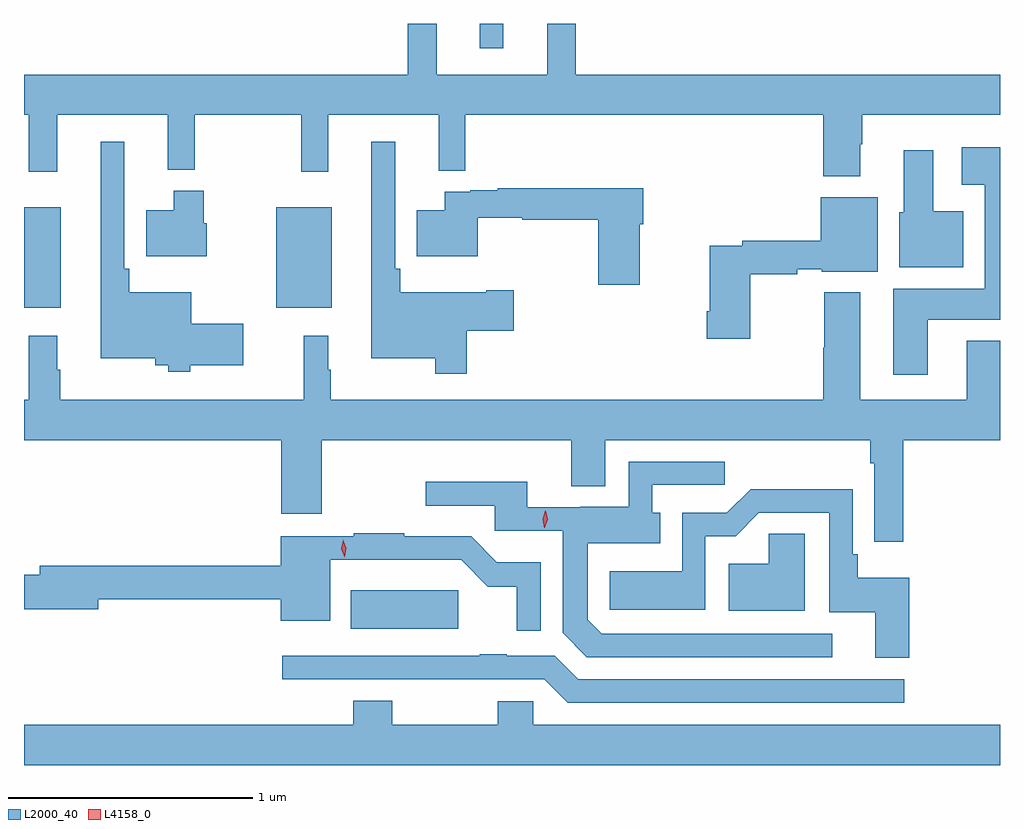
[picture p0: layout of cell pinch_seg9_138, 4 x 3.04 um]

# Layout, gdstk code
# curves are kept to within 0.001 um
import gdstk
lib = gdstk.Library(unit=1e-6, precision=1e-09)
def R(c, l, rs):  # rectangles x0, y0, x1, y1
    for r in rs: c.add(gdstk.rectangle(r[:2], r[2:], *l))
def P(c, l, *ps):  # polygons
    for p in ps: c.add(gdstk.Polygon(p, *l))
L2000_40 = (2000, 40)
L4158_0 = (4158, 0)

pinch_seg9_138 = lib.new_cell('pinch_seg9_138')
R(pinch_seg9_138, L2000_40, [(648.278,1232.942,648.718,1233.1), (646.938,1234.259,647.089,1234.669), (647.972,1234.259,648.199,1234.669), (648.806,1235.322,648.903,1235.421)])
P(pinch_seg9_138, L2000_40, [(650.365,1234.928),(650.373,1234.928),(650.373,1235.048),(650.938,1235.048),(650.938,1235.212),(649.199,1235.212),(649.199,1235.421),(649.082,1235.421),(649.082,1235.212),(648.629,1235.212),(648.629,1235.421),(648.511,1235.421),(648.511,1235.212),(646.938,1235.212),(646.938,1235.048),(646.957,1235.048),(646.957,1234.815),(647.075,1234.815),(647.075,1235.048),(647.528,1235.048),(647.528,1234.823),(647.638,1234.823),(647.638,1235.048),(648.075,1235.048),(648.075,1234.815),(648.185,1234.815),(648.185,1235.048),(648.638,1235.048),(648.638,1234.819),(648.746,1234.819),(648.746,1235.048),(650.213,1235.048),(650.213,1234.796),(650.365,1234.796)],
  [(648.752,1234.163),(648.946,1234.163),(648.946,1234.329),(648.833,1234.329),(648.833,1234.321),(648.479,1234.321),(648.479,1234.417),(648.459,1234.417),(648.459,1234.939),(648.362,1234.939),(648.362,1234.052),(648.624,1234.052),(648.624,1233.987),(648.752,1233.987)],
  [(647.619,1234.022),(647.836,1234.022),(647.836,1234.193),(647.623,1234.193),(647.623,1234.321),(647.369,1234.321),(647.369,1234.417),(647.349,1234.417),(647.349,1234.939),(647.252,1234.939),(647.252,1234.052),(647.476,1234.052),(647.476,1234.022),(647.529,1234.022),(647.529,1233.995),(647.619,1233.995)],
  [(650.641,1234.208),(650.938,1234.208),(650.938,1234.915),(650.781,1234.915),(650.781,1234.763),(650.876,1234.763),(650.876,1234.336),(650.501,1234.336),(650.501,1233.984),(650.641,1233.984)],
  [(650.788,1234.654),(650.665,1234.654),(650.665,1234.903),(650.543,1234.903),(650.543,1234.65),(650.525,1234.65),(650.525,1234.424),(650.788,1234.424)],
  [(649.462,1234.601),(649.475,1234.601),(649.475,1234.747),(648.88,1234.747),(648.88,1234.74),(648.766,1234.74),(648.766,1234.734),(648.662,1234.734),(648.662,1234.657),(648.548,1234.657),(648.548,1234.469),(648.797,1234.469),(648.797,1234.626),(648.98,1234.626),(648.98,1234.618),(649.292,1234.618),(649.292,1234.353),(649.462,1234.353)],
  [(647.686,1234.605),(647.674,1234.605),(647.674,1234.738),(647.552,1234.738),(647.552,1234.657),(647.438,1234.657),(647.438,1234.469),(647.686,1234.469)],
  [(649.914,1234.396),(650.108,1234.396),(650.108,1234.416),(650.208,1234.416),(650.208,1234.406),(650.437,1234.406),(650.437,1234.711),(650.204,1234.711),(650.204,1234.532),(649.882,1234.532),(649.882,1234.512),(649.748,1234.512),(649.748,1234.243),(649.736,1234.243),(649.736,1234.131),(649.914,1234.131)],
  [(650.542,1233.716),(650.938,1233.716),(650.938,1234.123),(650.801,1234.123),(650.801,1233.88),(650.365,1233.88),(650.365,1234.321),(650.218,1234.321),(650.218,1234.095),(650.213,1234.095),(650.213,1233.88),(648.196,1233.88),(648.196,1234.004),(648.184,1234.004),(648.184,1234.144),(648.085,1234.144),(648.085,1233.88),(647.086,1233.88),(647.086,1234.004),(647.074,1234.004),(647.074,1234.144),(646.957,1234.144),(646.957,1233.88),(646.938,1233.88),(646.938,1233.716),(647.993,1233.716),(647.993,1233.414),(648.158,1233.414),(648.158,1233.716),(649.181,1233.716),(649.181,1233.527),(649.321,1233.527),(649.321,1233.716),(650.406,1233.716),(650.406,1233.62),(650.423,1233.62),(650.423,1233.3),(650.542,1233.3)],
  [(650.251,1232.922),(649.305,1232.922),(649.248,1232.979),(649.249,1233.293),(649.546,1233.293),(649.546,1233.418),(649.512,1233.418),(649.512,1233.532),(649.81,1233.532),(649.81,1233.627),(649.416,1233.627),(649.416,1233.442),(649,1233.441),(649,1233.544),(648.585,1233.544),(648.585,1233.447),(648.867,1233.447),(648.867,1233.345),(649.145,1233.345),(649.145,1232.926),(649.245,1232.826),(650.251,1232.826)],
  [(650.567,1233.151),(650.354,1233.151),(650.354,1233.247),(650.334,1233.247),(650.334,1233.515),(649.916,1233.515),(649.818,1233.417),(649.635,1233.417),(649.635,1233.178),(649.338,1233.178),(649.338,1233.02),(649.731,1233.02),(649.731,1233.321),(649.854,1233.321),(649.95,1233.417),(650.238,1233.417),(650.238,1233.011),(650.426,1233.011),(650.426,1232.823),(650.567,1232.823)],
  [(649.056,1233.216),(648.876,1233.216),(648.771,1233.321),(648.497,1233.321),(648.497,1233.334),(648.289,1233.334),(648.289,1233.321),(647.99,1233.321),(647.99,1233.2),(647.003,1233.2),(647.003,1233.164),(646.938,1233.164),(646.938,1233.022),(647.242,1233.022),(647.242,1233.064),(647.99,1233.064),(647.99,1232.975),(648.193,1232.975),(648.193,1233.225),(648.729,1233.225),(648.839,1233.115),(648.958,1233.115),(648.958,1232.934),(649.056,1232.934)],
  [(650.137,1233.331),(649.99,1233.331),(649.99,1233.208),(649.826,1233.208),(649.826,1233.017),(650.137,1233.017)],
  [(650.545,1232.736),(649.209,1232.736),(649.113,1232.832),(648.916,1232.832),(648.916,1232.837),(648.805,1232.837),(648.805,1232.832),(647.997,1232.832),(647.997,1232.736),(649.071,1232.736),(649.167,1232.64),(650.545,1232.64)],
  [(650.938,1232.548),(649.026,1232.548),(649.026,1232.646),(648.88,1232.646),(648.88,1232.548),(648.447,1232.548),(648.447,1232.647),(648.287,1232.647),(648.287,1232.548),(646.938,1232.548),(646.938,1232.384),(650.938,1232.384)])
P(pinch_seg9_138, L4158_0, [(649.071,1233.356),(649.071,1233.356),(649.063,1233.392),(649.075,1233.427),(649.076,1233.427),(649.076,1233.427),(649.084,1233.391),(649.072,1233.356)],
  [(648.252,1233.236),(648.252,1233.236),(648.239,1233.27),(648.246,1233.306),(648.246,1233.307),(648.246,1233.306),(648.259,1233.272),(648.252,1233.236)])

lib.write_gds('pinch_seg9_138.gds')
